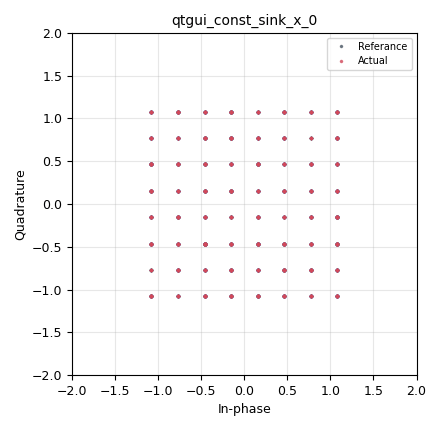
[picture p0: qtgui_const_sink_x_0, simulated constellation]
options:
  parameters:
    author: zoe
    generate_options: qt_gui
    id: lab4_3
    output_language: python
  states: {}

blocks:
- name: cfo
  id: variable_qtgui_range
  parameters:
    label: Carrier Frequency Offset (Hz)
    start: '0'
    step: '10'
    stop: 100e3
    value: '0.0'
  states: {}
- name: constellation
  id: variable
  parameters:
    comment: |-
      The constellation points of specific modulation.
      For example BPSK is [-1, 1]
    value: '[-1+0j, +1+0j]'
  states: {state: disabled}
- name: constellation
  id: variable
  parameters:
    comment: |-
      The constellation points of specific modulation.
      For example BPSK is [-1, 1]
    value: '[-3-3j, -1-3j, +3-3j, +1-3j, -3-1j, -1-1j, +3-1j, +1-1j, -3+3j, -1+3j, +3+3j, +1+3j, -3+1j, -1+1j, +3+1j, +1+1j]'
  states: {state: disabled}
- name: constellation
  id: variable
  parameters:
    comment: |-
      The constellation points of specific modulation.
      For example BPSK is [-1, 1]
    value: '[-7-7j, -5-7j, -1-7j, -3-7j, +7-7j, +5-7j, +1-7j, +3-7j, -7-5j, -5-5j, -1-5j, -3-5j, +7-5j, +5-5j, +1-5j, +3-5j, -7-1j, -5-1j, -1-1j, -3-1j, +7-1j, +5-1j, +1-1j, +3-1j, -7-3j, -5-3j, -1-3j, -3-3j, +7-3j, +5-3j, +1-3j, +3-3j, -7+7j, -5+7j, -1+7j, -3+7j, +7+7j, +5+7j, +1+7j, +3+7j, -7+5j, -5+5j, -1+5j, -3+5j, +7+5j, +5+5j, +1+5j, +3+5j, -7+1j, -5+1j, -1+1j, -3+1j, +7+1j, +5+1j, +1+1j, +3+1j, -7+3j, -5+3j, -1+3j, -3+3j, +7+3j, +5+3j, +1+3j, +3+3j, ]'
  states: {}
- name: constellation
  id: variable
  parameters:
    comment: |-
      The constellation points of specific modulation.
      For example BPSK is [-1, 1]
    value: '[-1+1j, -1-1j, +1+1j, +1-1j]'
  states: {state: disabled}
- name: constellation
  id: variable
  parameters:
    comment: |-
      The constellation points of specific modulation.
      For example BPSK is [-1, 1]
    value: '[-d-dj, 0-1j, 1+0j, d-dj, -1+0j, -d+dj, d+dj,0+1j ]'
  states: {state: disabled}
- name: d
  id: variable
  parameters:
    comment: |-
      The constellation points of specific modulation.
      For example BPSK is [-1, 1]
    value: 1/math.sqrt(2)
  states: {state: disabled}
- name: dj
  id: variable
  parameters:
    comment: |-
      The constellation points of specific modulation.
      For example BPSK is [-1, 1]
    value: 1j/math.sqrt(2)
  states: {state: disabled}
- name: mod_order
  id: variable
  parameters:
    comment: |-
      The number of bits that each 
      constellation point carries
    value: '4'
  states: {state: disabled}
- name: mod_order
  id: variable
  parameters:
    comment: |-
      The number of bits that each 
      constellation point carries
    value: '6'
  states: {}
- name: mod_order
  id: variable
  parameters:
    comment: |-
      The number of bits that each 
      constellation point carries
    value: '1'
  states: {state: disabled}
- name: mod_order
  id: variable
  parameters:
    comment: |-
      The number of bits that each 
      constellation point carries
    value: '2'
  states: {state: disabled}
- name: mod_order
  id: variable
  parameters:
    comment: |-
      The number of bits that each 
      constellation point carries
    value: '3'
  states: {state: disabled}
- name: noise
  id: variable_qtgui_range
  parameters:
    label: Noise Amplitude
    start: '0'
    step: '0.01'
    stop: '1'
    value: '0.0'
  states: {}
- name: norm_factor
  id: variable
  parameters:
    value: 1/math.sqrt(10)
  states: {state: disabled}
- name: norm_factor
  id: variable
  parameters:
    value: 1/math.sqrt(42)
  states: {}
- name: norm_factor
  id: variable
  parameters:
    value: '1'
  states: {state: disabled}
- name: norm_factor
  id: variable
  parameters:
    value: 1/math.sqrt(2)
  states: {state: disabled}
- name: norm_factor
  id: variable
  parameters:
    value: '1'
  states: {state: disabled}
- name: samp_rate
  id: variable
  parameters:
    value: 1e6
  states: {}
- name: analog_noise_source_x_0
  id: analog_noise_source_x
  parameters:
    amp: noise
    noise_type: analog.GR_GAUSSIAN
    seed: '0'
    type: complex
  states: {}
- name: analog_random_source_x_0
  id: analog_random_source_x
  parameters:
    max: '255'
    min: '0'
    num_samps: '1000'
    repeat: 'True'
    type: byte
  states: {}
- name: analog_sig_source_x_0_0
  id: analog_sig_source_x
  parameters:
    amp: '1'
    freq: cfo
    offset: '0'
    phase: '0'
    samp_rate: samp_rate
    type: complex
    waveform: analog.GR_COS_WAVE
  states: {}
- name: blocks_add_xx_0
  id: blocks_add_xx
  parameters:
    type: complex
  states: {}
- name: blocks_multiply_const_vxx_0
  id: blocks_multiply_const_vxx
  parameters:
    const: norm_factor
    type: complex
  states: {}
- name: blocks_multiply_const_vxx_0_0
  id: blocks_multiply_const_vxx
  parameters:
    const: norm_factor
    type: complex
  states: {}
- name: blocks_multiply_xx_0
  id: blocks_multiply_xx
  parameters:
    type: complex
  states: {}
- name: blocks_packed_to_unpacked_xx_0
  id: blocks_packed_to_unpacked_xx
  parameters:
    bits_per_chunk: mod_order
    endianness: gr.GR_MSB_FIRST
    type: byte
  states: {}
- name: blocks_throttle_0
  id: blocks_throttle
  parameters:
    samples_per_second: samp_rate
    type: complex
  states: {}
- name: digital_chunks_to_symbols_xx_0
  id: digital_chunks_to_symbols_xx
  parameters:
    dimension: '1'
    in_type: byte
    out_type: complex
    symbol_table: constellation
  states: {}
- name: import_0
  id: import
  parameters:
    imports: import math
  states: {}
- name: qtgui_const_sink_x_0
  id: qtgui_const_sink_x
  parameters:
    grid: 'True'
    label1: Referance
    label2: Actual
    nconnections: '2'
    size: '1024'
    type: complex
  states: {}
- name: qtgui_waterfall_sink_x_0
  id: qtgui_waterfall_sink_x
  parameters:
    bw: samp_rate
    fc: '0'
    fftsize: '1024'
    nconnections: '2'
    type: complex
  states: {state: disabled}

connections:
- [analog_noise_source_x_0, '0', blocks_add_xx_0, '1']
- [analog_random_source_x_0, '0', blocks_packed_to_unpacked_xx_0, '0']
- [analog_sig_source_x_0_0, '0', blocks_multiply_xx_0, '1']
- [blocks_add_xx_0, '0', blocks_multiply_xx_0, '0']
- [blocks_multiply_const_vxx_0, '0', qtgui_const_sink_x_0, '0']
- [blocks_multiply_const_vxx_0, '0', qtgui_waterfall_sink_x_0, '0']
- [blocks_multiply_const_vxx_0_0, '0', qtgui_const_sink_x_0, '1']
- [blocks_multiply_const_vxx_0_0, '0', qtgui_waterfall_sink_x_0, '1']
- [blocks_multiply_xx_0, '0', blocks_throttle_0, '0']
- [blocks_packed_to_unpacked_xx_0, '0', digital_chunks_to_symbols_xx_0, '0']
- [blocks_throttle_0, '0', blocks_multiply_const_vxx_0_0, '0']
- [digital_chunks_to_symbols_xx_0, '0', blocks_add_xx_0, '0']
- [digital_chunks_to_symbols_xx_0, '0', blocks_multiply_const_vxx_0, '0']

metadata:
  file_format: 1
  grc_version: 3.10.5.1
